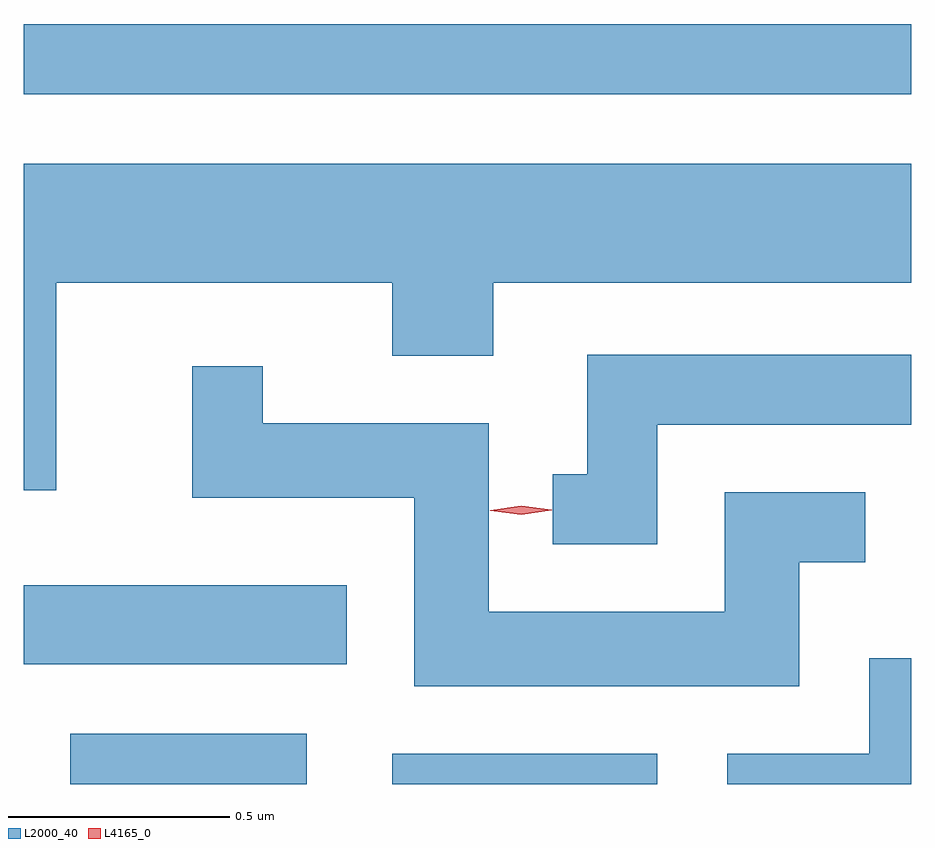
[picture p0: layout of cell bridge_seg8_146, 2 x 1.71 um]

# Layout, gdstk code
import gdstk
lib = gdstk.Library(unit=1e-6, precision=1e-09)
def R(c, l, rs):  # rectangles x0, y0, x1, y1
    for r in rs: c.add(gdstk.rectangle(r[:2], r[2:], *l))
def P(c, l, *ps):  # polygons
    for p in ps: c.add(gdstk.Polygon(p, *l))
L2000_40 = (2000, 40)
L4165_0 = (4165, 0)

bridge_seg8_146 = lib.new_cell('bridge_seg8_146')
R(bridge_seg8_146, L2000_40, [(1664.186,1810.866,1664.719,1810.979), (1664.911,1810.866,1665.509,1810.934), (1664.081,1811.136,1664.809,1811.314), (1664.081,1812.421,1666.081,1812.579)])
P(bridge_seg8_146, L2000_40, [(1664.154,1811.996),(1664.911,1811.996),(1664.911,1811.831),(1665.139,1811.831),(1665.139,1811.996),(1666.081,1811.996),(1666.081,1812.264),(1664.081,1812.264),(1664.081,1811.528),(1664.154,1811.528)],
  [(1665.509,1811.676),(1666.081,1811.676),(1666.081,1811.834),(1665.351,1811.834),(1665.351,1811.564),(1665.273,1811.564),(1665.273,1811.406),(1665.509,1811.406)],
  [(1665.829,1811.366),(1665.978,1811.366),(1665.978,1811.524),(1665.661,1811.524),(1665.661,1811.254),(1665.129,1811.254),(1665.129,1811.679),(1664.619,1811.679),(1664.619,1811.808),(1664.461,1811.808),(1664.461,1811.511),(1664.961,1811.511),(1664.961,1811.086),(1665.829,1811.086)],
  [(1666.081,1811.149),(1665.986,1811.149),(1665.986,1810.934),(1665.666,1810.934),(1665.666,1810.866),(1666.081,1810.866)])
P(bridge_seg8_146, L4165_0, [(1665.202,1811.473),(1665.132,1811.482),(1665.132,1811.483),(1665.132,1811.483),(1665.202,1811.493),(1665.271,1811.484),(1665.271,1811.483),(1665.271,1811.483)])

lib.write_gds('bridge_seg8_146.gds')
